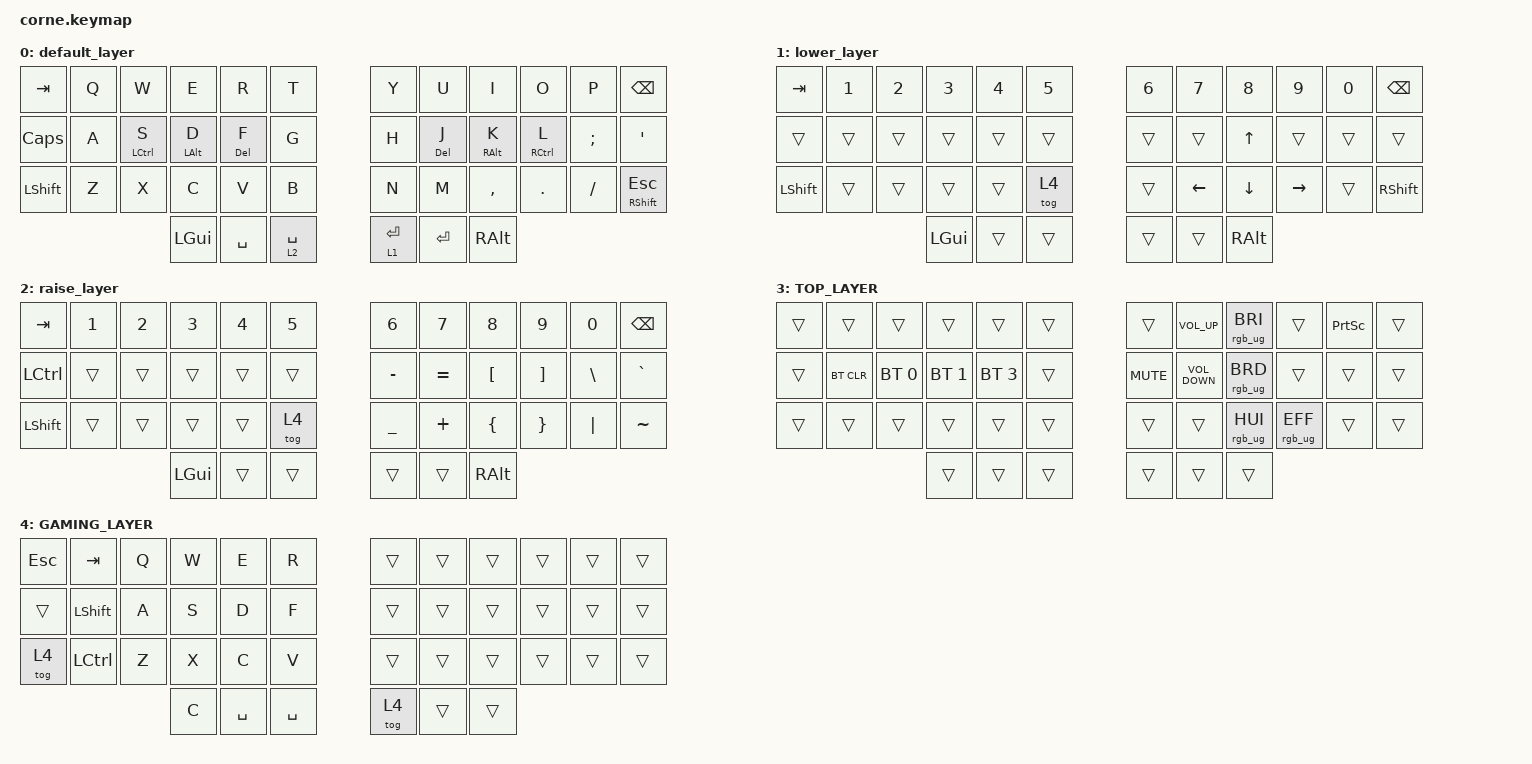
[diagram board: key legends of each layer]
/*
 * Copyright (c) 2020 The ZMK Contributors
 *
 * SPDX-License-Identifier: MIT
 */

#include <behaviors.dtsi>
#include <dt-bindings/zmk/bt.h>
#include <dt-bindings/zmk/keys.h>
#include <dt-bindings/zmk/rgb.h>

&led_strip {
    chain-length = <27>; // 0 backlight + 27 underglow
};

&mt {
    tapping-term-ms = <200>; // This is the value already set by default
    flavor = "tap-preferred";
};

/ {
    combos { compatible = "zmk,combos"; };

    keymap {
        compatible = "zmk,keymap";

        default_layer {
            // -----------------------------------------------------------------------------------------
            // |  TAB |  Q  |  W  |  E  |  R  |  T  |   |  Y  |  U   |  I  |  O  |  P  | BSPC |
            // | CTRL |  A  |  S  |  D  |  F  |  G  |   |  H  |  J   |  K  |  L  |  ;  |  '   |
            // | SHFT |  Z  |  X  |  C  |  V  |  B  |   |  N  |  M   |  ,  |  .  |  /  | ESC  |
            //                    | GUI | LWR | SPC |   | ENT | RSE  | ALT |

            bindings = <
&kp TAB    &kp Q  &kp W               &kp E           &kp R      &kp T          &kp Y         &kp U       &kp I            &kp O                &kp P     &kp BSPC
&kp CAPS   &kp A  &mt LEFT_CONTROL S  &mt LEFT_ALT D  &mt DEL F  &kp G          &kp H         &mt DEL J   &mt RIGHT_ALT K  &mt RIGHT_CONTROL L  &kp SEMI  &kp APOS
&kp LSHFT  &kp Z  &kp X               &kp C           &kp V      &kp B          &kp N         &kp M       &kp COMMA        &kp DOT              &kp FSLH  &mt RIGHT_SHIFT ESC
                                      &kp LGUI        &kp SPACE  &lt 2 SPACE    &lt 1 RETURN  &kp RETURN  &kp RALT
            >;
        };

        lower_layer {
            // -----------------------------------------------------------------------------------------
            // |  TAB |  1  |  2  |  3  |  4  |  5  |   |  6  |  7  |  8  |  9  |  0  | BSPC |
            // | BTCLR| BT1 | BT2 | BT3 | BT4 | BT5 |   | LFT | DWN |  UP | RGT |     |      |
            // | SHFT |     |     |     |     |     |   |     |     |     |     |     |      |
            //                    | GUI |     | SPC |   | ENT |     | ALT |

            bindings = <
&kp TAB    &kp N1  &kp N2  &kp N3    &kp N4  &kp N5    &kp N6  &kp N7          &kp N8          &kp N9           &kp N0  &kp BSPC
&trans     &trans  &trans  &trans    &trans  &trans    &trans  &trans          &kp UP_ARROW    &trans           &trans  &trans
&kp LSHFT  &trans  &trans  &trans    &trans  &tog 4    &trans  &kp LEFT_ARROW  &kp DOWN_ARROW  &kp RIGHT_ARROW  &trans  &kp RIGHT_SHIFT
                           &kp LGUI  &trans  &trans    &trans  &trans          &kp RALT
            >;
        };

        raise_layer {
            // -----------------------------------------------------------------------------------------
            // |  TAB |  !  |  @  |  #  |  $  |  %  |   |  ^  |  &  |  *  |  (  |  )  | BSPC |
            // | CTRL |     |     |     |     |     |   |  -  |  =  |  [  |  ]  |  \  |  `   |
            // | SHFT |     |     |     |     |     |   |  _  |  +  |  {  |  }  | "|" |  ~   |
            //                    | GUI |     | SPC |   | ENT |     | ALT |

            bindings = <
&kp TAB    &kp N1  &kp N2  &kp N3    &kp N4  &kp N5    &kp N6     &kp N7     &kp N8    &kp N9    &kp N0    &kp BSPC
&kp LCTRL  &trans  &trans  &trans    &trans  &trans    &kp MINUS  &kp EQUAL  &kp LBKT  &kp RBKT  &kp BSLH  &kp GRAVE
&kp LSHFT  &trans  &trans  &trans    &trans  &tog 4    &kp UNDER  &kp PLUS   &kp LBRC  &kp RBRC  &kp PIPE  &kp TILDE
                           &kp LGUI  &trans  &trans    &trans     &trans     &kp RALT
            >;
        };

        TOP_LAYER {
            bindings = <
&trans  &trans      &trans        &trans        &trans        &trans    &trans      &kp C_VOLUME_UP    &rgb_ug RGB_BRI  &trans           &kp PRINTSCREEN  &trans
&trans  &bt BT_CLR  &bt BT_SEL 0  &bt BT_SEL 1  &bt BT_SEL 3  &trans    &kp K_MUTE  &kp C_VOLUME_DOWN  &rgb_ug RGB_BRD  &trans           &trans           &trans
&trans  &trans      &trans        &trans        &trans        &trans    &trans      &trans             &rgb_ug RGB_HUI  &rgb_ug RGB_EFF  &trans           &trans
                                  &trans        &trans        &trans    &trans      &trans             &trans
            >;
        };

        GAMING_LAYER {
            bindings = <
&kp ESC  &kp TAB           &kp Q  &kp W  &kp E      &kp R        &trans  &trans  &trans  &trans  &trans  &trans
&trans   &kp LEFT_SHIFT    &kp A  &kp S  &kp D      &kp F        &trans  &trans  &trans  &trans  &trans  &trans
&tog 4   &kp LEFT_CONTROL  &kp Z  &kp X  &kp C      &kp V        &trans  &trans  &trans  &trans  &trans  &trans
                                  &kp C  &kp SPACE  &kp SPACE    &tog 4  &trans  &trans
            >;
        };
    };

    conditional_layers {
        compatible = "zmk,conditional-layers";

        TOP_LAYER {
            if-layers = <1 2>;
            then-layer = <3>;
        };
    };
};
